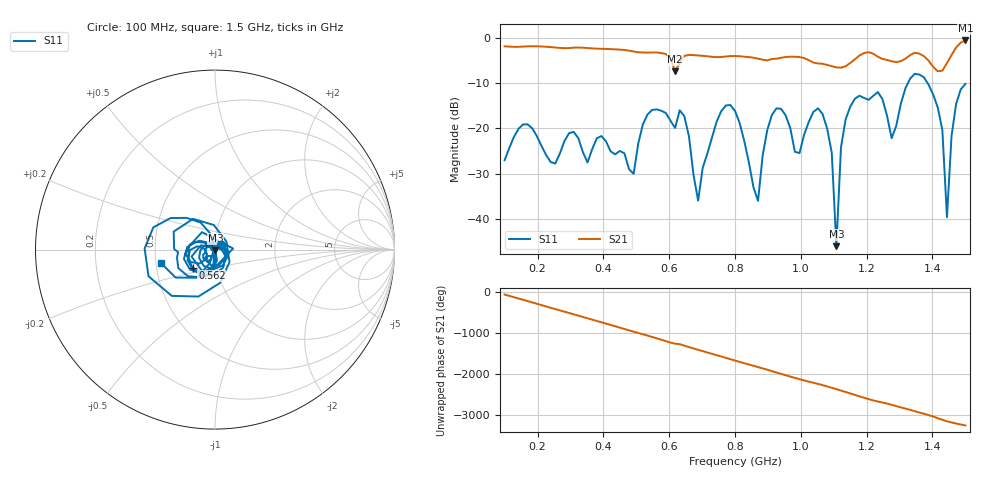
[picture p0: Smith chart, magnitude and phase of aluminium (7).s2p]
! NanoVNA-App
! Date: 2025-09-25 14:55:19
! Start: 100MHz Stop: 1,5GHz Points: 101
! S-Parameter data: F S11 S21 S12 S22
# Hz S RI R 50
!  Frequency  S11_Real  S11_Imag  S21_Real  S21_Imag  S12_Real  S12_Imag  S22_Real  S22_Imag
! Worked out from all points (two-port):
!   101 points, 100 MHz to 1.5 GHz, reference 50 ohm
!   highest |S21| = -0.62 dB at 1.5 GHz (marker M1); lowest = -7.4 dB at 618 MHz (marker M2)
!   |S21| within 3 dB of the highest: start of sweep to 590.2 MHz; 1.186 GHz to 1.222 GHz (35.33 MHz wide, 2.93 % of centre) (the widest 2 of 4)
!   lowest |S11| = -46.0 dB at 1.108 GHz (marker M3), VSWR 1.01, Z = 50.2 - j0.44 ohm
!   |S11| at or under -10 dB: start of sweep to 1.326 GHz; 1.385 GHz to end of sweep
!   S12 and S22 are empty: the file has one direction only
!   S11 on the Smith chart (normalised r, x): 100 MHz: 1.07, +0.06; 562 MHz: 0.76, -0.16; 1.5 GHz: 0.53, -0.09
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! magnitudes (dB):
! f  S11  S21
! 100 MHz  -27.0  -1.9
! 338 MHz  -25.3  -2.2
! 492 MHz  -30.0  -3.1
! 562 MHz  -15.8  -3.3
! 576 MHz  -16.1  -3.4
! 618 MHz  -19.9  -7.4
! 646 MHz  -17.3  -4.0
! 688 MHz  -35.9  -3.9
! 800 MHz  -16.2  -4.1
! 870 MHz  -36.0  -4.6
! 912 MHz  -17.1  -4.7
! 1.038 GHz  -16.4  -5.5
! 1.094 GHz  -25.4  -6.3
! 1.108 GHz  -46.0  -6.6
! 1.122 GHz  -24.2  -6.6
! 1.15 GHz  -15.2  -5.6
! 1.276 GHz  -22.2  -5.2
! 1.374 GHz  -8.7  -4.1
! 1.43 GHz  -20.4  -7.3
! 1.444 GHz  -39.6  -5.6
! 1.458 GHz  -21.6  -3.8
! 1.5 GHz  -10.2  -0.6
